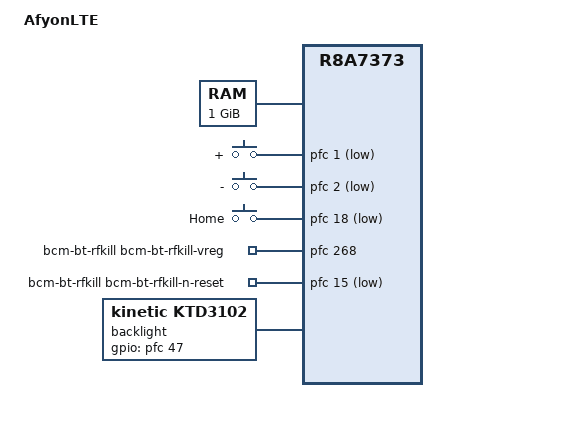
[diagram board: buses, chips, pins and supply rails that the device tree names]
/*
 * Device Tree Source for the r8a7373 based afyon board
 *
 * Copyright (C) 2013 Renesas Mobile
 *
 * This file is licensed under the terms of the GNU General Public License
 * version 2.  This program is licensed "as is" without any warranty of any
 * kind, whether express or implied.
 */

/dts-v1/;
#ifdef SECURE_CARVEOUT	// Allow secure variant to insert memreserve, normally do nothing.
SECURE_CARVEOUT
#endif
#include "r8a7373.dtsi"
#include "rmobile-common.dtsi"
#include <dt-bindings/gpio/gpio.h>
#include <dt-bindings/input/input.h>

/{
	model = "AfyonLTE";
	compatible = "renesas,afyonlte", "renesas,r8a7373";

	chosen {
		bootargs = "console=ttySC0,115200 earlyprintk=sh-sci.0,115200 ignore_loglevel";
		linux,sysrq-reset-seq {
			keyset = <KEY_VOLUMEDOWN KEY_VOLUMEUP>;
			timeout-ms = <3000>;
		};
	};

	memory@40000000 {
		device_type = "memory";
		reg = <0x40000000 0x40000000>;
	};

	gpio-keys {
		compatible = "gpio-keys";
		#address-cells = <0>;
		#size-cells = <0>;
		pinctrl-names = "default";
		pinctrl-0 = <&key_pins>;

		volume-up {
			label = "+";
			gpios = <&pfc 1 GPIO_ACTIVE_LOW>;
			linux,code = <KEY_VOLUMEUP>;
			gpio-key,wakeup;
		};

		volume-down {
			label = "-";
			gpios = <&pfc 2 GPIO_ACTIVE_LOW>;
			linux,code = <KEY_VOLUMEDOWN>;
			gpio-key,wakeup;
		};

		/* Code may be changed to KEY_HOME by setup-u2gpio_key.c */
		home_button: home {
			label = "Home";
			gpios = <&pfc 18 GPIO_ACTIVE_LOW>;
			linux,code = <KEY_HOMEPAGE>;
			gpio-key,wakeup;
		};
	};

	bcm-bt-rfkill {
		compatible = "bcm,bcm-bt-rfkill";
		bcm-bt-rfkill-vreg-gpio = <&pfc 268 GPIO_ACTIVE_HIGH>;
		bcm-bt-rfkill-n-reset-gpio = <&pfc 15 GPIO_ACTIVE_LOW>;
	};

	backlight {
		compatible = "kinetic,ktd3102";
		max-brightness = <255>;
		default-brightness = <123>;
		gpios = <&pfc 47 GPIO_ACTIVE_HIGH>;
	};

	sound {
		compatible = "renesas,fsi-snd-d2153";
		renesas,fsia = <&sh_fsi>;
		renesas,fsib = <&sh_fsi2>;
		renesas,mclk-freq = <13000000>;
		renesas,audio-routing =
			"RECCHL", "AIFOUTL",
			"RECCHR", "AIFOUTR",
			"AIFINL", "VCLK4",
			"AIFINR", "VCLK4",
			"AIFOUTL", "VCLK4",
			"AIFOUTR", "VCLK4",
			"Headphone Jack Left", "Headphone Left PGA",
			"Headphone Jack Right", "Headphone Right PGA",
			"Speaker", "Speaker PGA",
			"Earpiece", "Earpiece PGA";
	};
};

&stm {
	ztr-clk-rate = <156000000>;
};

&pfc {
	key_pins: keys {
		renesas,pins = "PORT1", "PORT2", "PORT18";
		bias-pull-up;
	};
};

&mmcif {
	renesas,data-delay-ps = <500>; /* 500 picoseconds = 0.5 ns */
};
